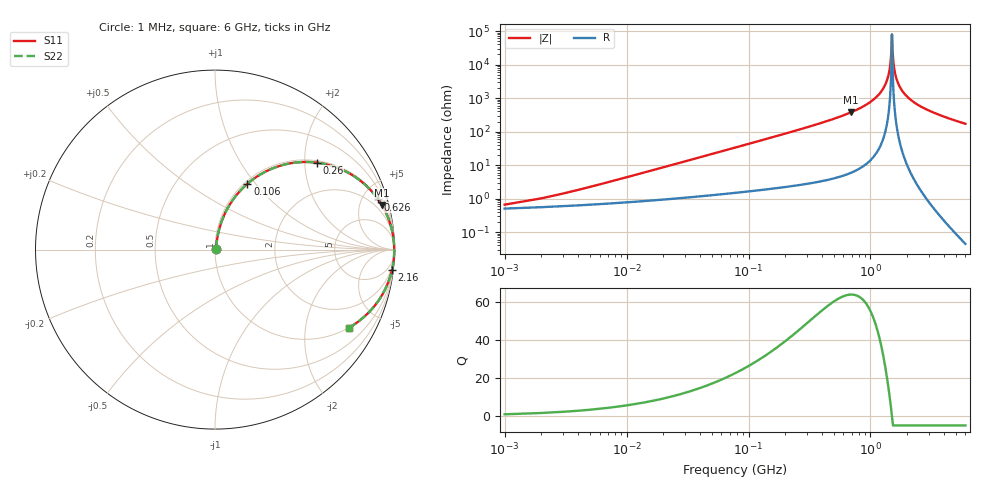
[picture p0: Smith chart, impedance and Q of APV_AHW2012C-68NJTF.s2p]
! APV AHW2012C-68NJTF 68 nH 0805 wire-wound (L4)
! Lumped model fitted to APV datasheet: Q=60@500MHz, SRF=1500MHz, DCR=0.38 ohm
! Model: (L + DCR + k*sqrt(f)) || Cp ; L=6.8e-08 H, Cp=1.66e-13 F, k=0.000125
! Generated by make_s2p.py - an estimate, not a measurement
! Series-thru 2-port: part connected between port 1 and port 2.
# Hz S RI R 50
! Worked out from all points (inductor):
!   1500 points, 1 MHz to 6 GHz, reference 50 ohm
!   read as one part in series: L = 68 nH near 8 MHz
!   highest Q = 63.7 at 690 MHz (marker M1), where L = 86.2 nH
!   self-resonance near 1.49 GHz
!   S11 on the Smith chart (normalised r, x): 1 MHz: 1.01, +0.01; 106 MHz: 1.03, +0.91; 260 MHz: 1.05, +2.29; 626 MHz: 1.10, +6.48; 2.16 GHz: 1, -17; 6 GHz: 1.00, -3.42
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1000000  0.00504 0.00423  0.995 -0.00423  0.995 -0.00423  0.00504 0.00423
5000000  0.00699 0.0211  0.993 -0.0211  0.993 -0.0211  0.00699 0.0211
1.9e7  0.0155 0.0792  0.9845 -0.0792  0.9845 -0.0792  0.0155 0.0792
7.8e7  0.111 0.2927  0.889 -0.2927  0.889 -0.2927  0.111 0.2927
1.06e8  0.1807 0.3668  0.8193 -0.3668  0.8193 -0.3668  0.1807 0.3668
2.6e8  0.5661 0.4847  0.4339 -0.4847  0.4339 -0.4847  0.5661 0.4847
3.31e8  0.6852 0.4547  0.3148 -0.4547  0.3148 -0.4547  0.6852 0.4547
6.26e8  0.9093 0.2793  0.0907 -0.2793  0.0907 -0.2793  0.9093 0.2793
6.9e8  0.9299 0.2476  0.0701 -0.2476  0.0701 -0.2476  0.9299 0.2476
9.36e8  0.9748 0.1484  0.0252 -0.1484  0.0252 -0.1484  0.9748 0.1484
1.15e9  0.9912 0.083  0.00885 -0.083  0.00885 -0.083  0.9912 0.083
1.31e9  0.9967 0.0422  0.00334 -0.0422  0.00334 -0.0422  0.9967 0.0422
1.41e9  0.9982 0.0192  0.00176 -0.0192  0.00176 -0.0192  0.9982 0.0192
1.46e9  0.9986 0.0084  0.00139 -0.0084  0.00139 -0.0084  0.9986 0.0084
1.52e9  0.9987 -0.00413  0.00126 0.00413  0.00126 0.00413  0.9987 -0.00413
1.56e9  0.9987 -0.0122  0.00134 0.0122  0.00134 0.0122  0.9987 -0.0122
1.62e9  0.9983 -0.024  0.0017 0.024  0.0017 0.024  0.9983 -0.024
1.71e9  0.9973 -0.0409  0.00271 0.0409  0.00271 0.0409  0.9973 -0.0409
1.88e9  0.9941 -0.0706  0.00591 0.0706  0.00591 0.0706  0.9941 -0.0706
2.16e9  0.986 -0.1146  0.014 0.1146  0.014 0.1146  0.986 -0.1146
3.24e9  0.9342 -0.2473  0.0658 0.2473  0.0658 0.2473  0.9342 -0.2473
6e9  0.7449 -0.4358  0.2551 0.4358  0.2551 0.4358  0.7449 -0.4358
